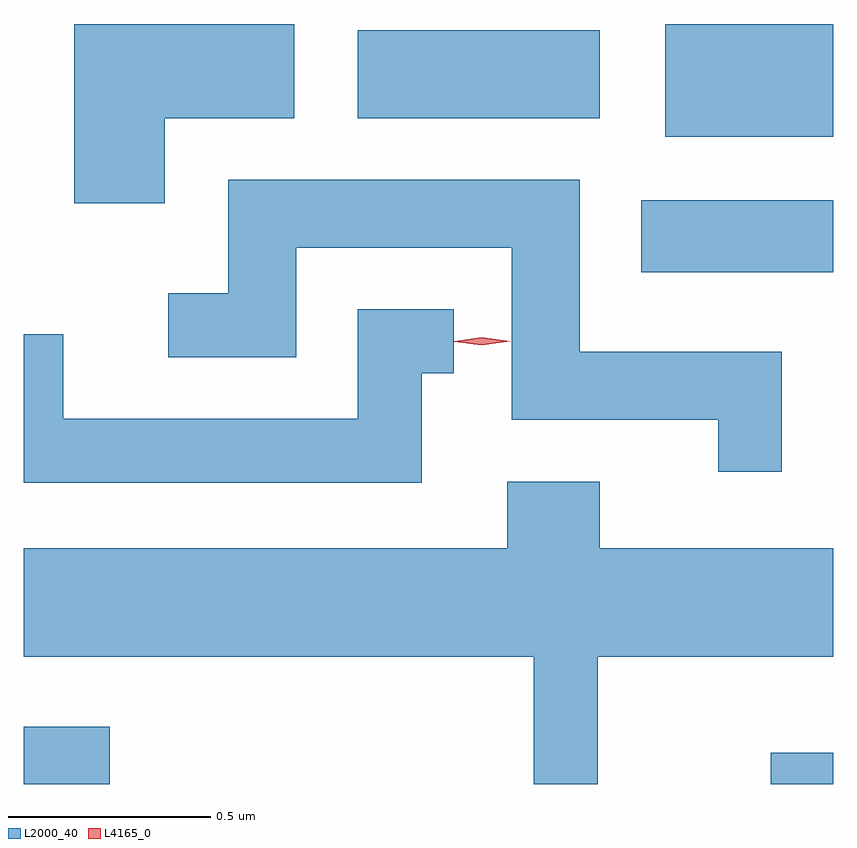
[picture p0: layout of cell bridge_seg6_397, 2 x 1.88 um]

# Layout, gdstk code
import gdstk
lib = gdstk.Library(unit=1e-6, precision=1e-09)
def R(c, l, rs):  # rectangles x0, y0, x1, y1
    for r in rs: c.add(gdstk.rectangle(r[:2], r[2:], *l))
def P(c, l, *ps):  # polygons
    for p in ps: c.add(gdstk.Polygon(p, *l))
L2000_40 = (2000, 40)
L4165_0 = (4165, 0)

bridge_seg6_397 = lib.new_cell('bridge_seg6_397')
R(bridge_seg6_397, L2000_40, [(943.756,1647.402,943.969,1647.544), (945.601,1647.402,945.756,1647.479), (945.281,1648.666,945.756,1648.844), (945.341,1649.001,945.756,1649.279), (944.581,1649.046,945.179,1649.264)])
P(bridge_seg6_397, L2000_40, [(944.104,1649.046),(944.424,1649.046),(944.424,1649.279),(943.881,1649.279),(943.881,1648.836),(944.104,1648.836)],
  [(945.629,1648.469),(945.129,1648.469),(945.129,1648.894),(944.261,1648.894),(944.261,1648.614),(944.113,1648.614),(944.113,1648.456),(944.429,1648.456),(944.429,1648.726),(944.961,1648.726),(944.961,1648.301),(945.471,1648.301),(945.471,1648.173),(945.629,1648.173)],
  [(944.739,1648.416),(944.818,1648.416),(944.818,1648.574),(944.581,1648.574),(944.581,1648.304),(943.854,1648.304),(943.854,1648.513),(943.756,1648.513),(943.756,1648.146),(944.739,1648.146)],
  [(945.174,1647.716),(945.756,1647.716),(945.756,1647.984),(945.179,1647.984),(945.179,1648.149),(944.951,1648.149),(944.951,1647.984),(943.756,1647.984),(943.756,1647.716),(945.016,1647.716),(945.016,1647.402),(945.174,1647.402)])
P(bridge_seg6_397, L4165_0, [(944.888,1648.485),(944.819,1648.494),(944.819,1648.495),(944.819,1648.495),(944.888,1648.505),(944.958,1648.496),(944.958,1648.496),(944.958,1648.495)])

lib.write_gds('bridge_seg6_397.gds')
